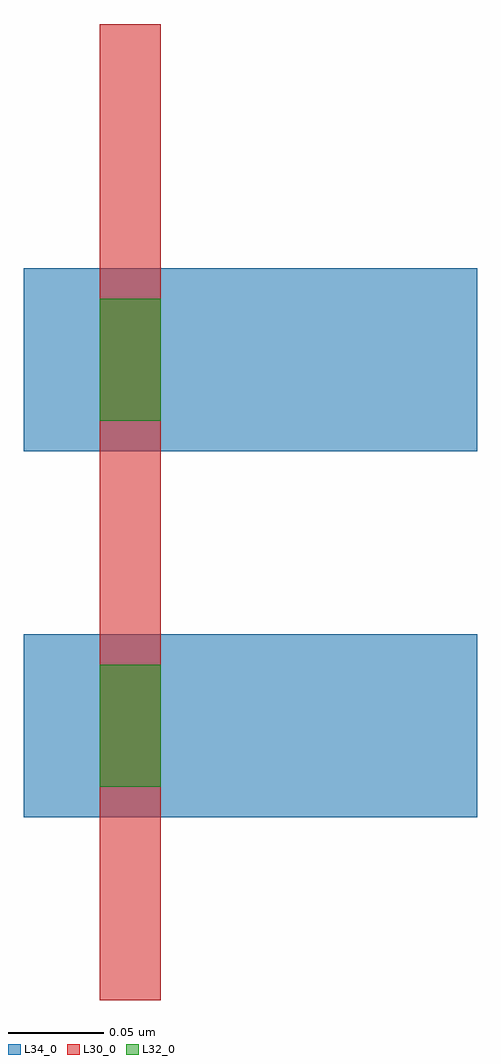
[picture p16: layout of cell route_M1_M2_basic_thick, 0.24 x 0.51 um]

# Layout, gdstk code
import gdstk
lib = gdstk.Library(unit=1e-6, precision=5e-10)
def R(c, l, rs):  # rectangles x0, y0, x1, y1
    for r in rs: c.add(gdstk.rectangle(r[:2], r[2:], *l))
L30_0 = (30, 0)
L32_0 = (32, 0)
L34_0 = (34, 0)

via_m1_m2_1 = lib.new_cell('via_M1_M2_1')
R(via_m1_m2_1, L30_0, [(-0.016,-0.072,0.016,0.072)])
R(via_m1_m2_1, L32_0, [(-0.016,-0.032,0.016,0.032)])
R(via_m1_m2_1, L34_0, [(-0.056,-0.048,0.056,0.048)])

route_m1_m2_basic_thick = lib.new_cell('route_M1_M2_basic_thick')
R(route_m1_m2_basic_thick, L30_0, [(-0.016,0,0.016,0.512)])
R(route_m1_m2_basic_thick, L34_0, [(0,0.096,0.182,0.192), (0,0.288,0.182,0.384)])
route_m1_m2_basic_thick.add(gdstk.Reference(via_m1_m2_1, (0,0.336)))
route_m1_m2_basic_thick.add(gdstk.Reference(via_m1_m2_1, (0,0.144)))

lib.write_gds('route_M1_M2_basic_thick.gds')
